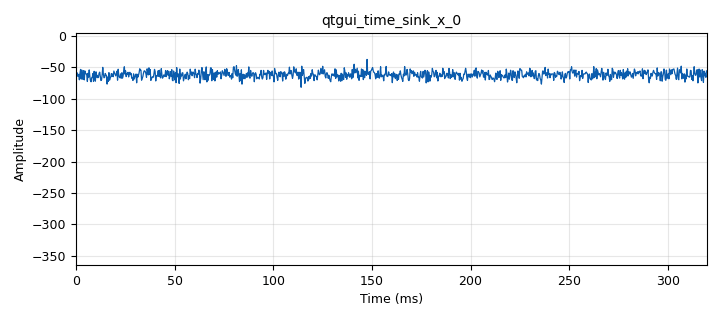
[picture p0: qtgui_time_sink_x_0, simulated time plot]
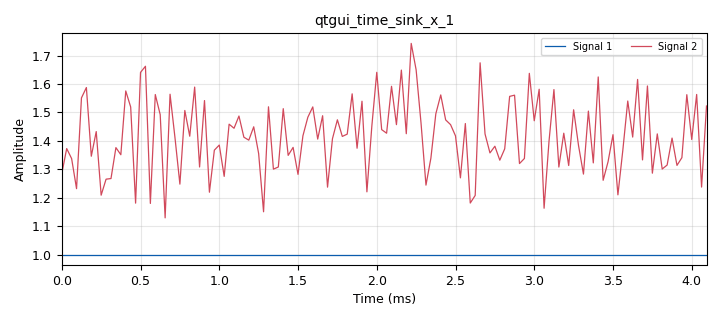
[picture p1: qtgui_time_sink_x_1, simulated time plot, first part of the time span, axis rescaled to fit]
options:
  parameters:
    author: rusty
    generate_options: qt_gui
    id: phaseShift
    output_language: python
    title: Not titled yet
  states: {}

blocks:
- name: delay
  id: variable_qtgui_range
  parameters:
    orient: Qt.Horizontal
    start: '0'
    step: '1'
    stop: '64'
    value: '0'
  states: {}
- name: freq
  id: variable
  parameters:
    value: '500'
  states: {}
- name: noise_voltage
  id: variable_qtgui_range
  parameters:
    orient: Qt.Horizontal
    start: '0'
    step: '0.0001'
    stop: '1'
    value: '0.2'
  states: {}
- name: samp_rate
  id: variable
  parameters:
    value: '32000'
  states: {}
- name: analog_sig_source_x_0
  id: analog_sig_source_x
  parameters:
    amp: '1'
    freq: freq
    offset: '0'
    phase: '0'
    samp_rate: samp_rate
    type: complex
    waveform: analog.GR_COS_WAVE
  states: {}
- name: analog_sig_source_x_0_0
  id: analog_sig_source_x
  parameters:
    amp: '1'
    freq: freq
    offset: '0'
    phase: '0'
    samp_rate: samp_rate
    type: complex
    waveform: analog.GR_COS_WAVE
  states: {}
- name: blocks_add_xx_0
  id: blocks_add_xx
  parameters:
    type: float
  states: {}
- name: blocks_complex_to_mag_squared_0
  id: blocks_complex_to_mag_squared
  parameters: {}
  states: {}
- name: blocks_complex_to_magphase_0
  id: blocks_complex_to_magphase
  parameters: {}
  states: {}
- name: blocks_complex_to_magphase_0_0
  id: blocks_complex_to_magphase
  parameters: {}
  states: {}
- name: blocks_delay_0
  id: blocks_delay
  parameters:
    delay: delay
    type: complex
  states: {}
- name: blocks_multiply_const_xx_0
  id: blocks_multiply_const_xx
  parameters:
    const: 180/3.14159
    type: float
  states: {}
- name: blocks_multiply_const_xx_0_0
  id: blocks_multiply_const_xx
  parameters:
    const: '-2*3.14159'
    type: float
  states: {}
- name: blocks_multiply_const_xx_0_1
  id: blocks_multiply_const_xx
  parameters:
    const: 180/3.14159
    type: float
  states: {}
- name: blocks_probe_signal_x_0
  id: blocks_probe_signal_x
  parameters:
    type: float
  states: {}
- name: blocks_probe_signal_x_0_0
  id: blocks_probe_signal_x
  parameters:
    type: float
  states: {}
- name: blocks_sub_xx_0
  id: blocks_sub_xx
  parameters:
    type: float
  states: {}
- name: blocks_threshold_ff_0
  id: blocks_threshold_ff
  parameters:
    high: '0'
    init: '0'
    low: '0'
  states: {}
- name: blocks_throttle_0
  id: blocks_throttle
  parameters:
    samples_per_second: samp_rate
    type: complex
  states: {}
- name: channels_channel_model_0
  id: channels_channel_model
  parameters:
    epsilon: '1.0'
    freq_offset: '0.0'
    noise_voltage: noise_voltage
    seed: '0'
    taps: 1.0 + 1.0j
  states: {}
- name: qtgui_time_sink_x_0
  id: qtgui_time_sink_x
  parameters:
    grid: 'True'
    size: '1024'
    srate: samp_rate/10
    type: float
    ymax: '5'
    ymin: '-365'
  states: {}
- name: qtgui_time_sink_x_1
  id: qtgui_time_sink_x
  parameters:
    nconnections: '2'
    size: '1024'
    srate: samp_rate
    type: float
  states: {}

connections:
- [analog_sig_source_x_0, '0', blocks_throttle_0, '0']
- [analog_sig_source_x_0_0, '0', channels_channel_model_0, '0']
- [blocks_add_xx_0, '0', blocks_multiply_const_xx_0, '0']
- [blocks_complex_to_mag_squared_0, '0', blocks_probe_signal_x_0_0, '0']
- [blocks_complex_to_magphase_0, '0', qtgui_time_sink_x_1, '0']
- [blocks_complex_to_magphase_0, '1', blocks_sub_xx_0, '0']
- [blocks_complex_to_magphase_0_0, '0', qtgui_time_sink_x_1, '1']
- [blocks_complex_to_magphase_0_0, '1', blocks_sub_xx_0, '1']
- [blocks_delay_0, '0', blocks_complex_to_mag_squared_0, '0']
- [blocks_delay_0, '0', blocks_complex_to_magphase_0_0, '0']
- [blocks_multiply_const_xx_0, '0', qtgui_time_sink_x_0, '0']
- [blocks_multiply_const_xx_0_0, '0', blocks_add_xx_0, '1']
- [blocks_multiply_const_xx_0_1, '0', blocks_probe_signal_x_0, '0']
- [blocks_sub_xx_0, '0', blocks_add_xx_0, '0']
- [blocks_sub_xx_0, '0', blocks_multiply_const_xx_0_1, '0']
- [blocks_sub_xx_0, '0', blocks_threshold_ff_0, '0']
- [blocks_threshold_ff_0, '0', blocks_multiply_const_xx_0_0, '0']
- [blocks_throttle_0, '0', blocks_complex_to_magphase_0, '0']
- [channels_channel_model_0, '0', blocks_delay_0, '0']

metadata:
  file_format: 1
